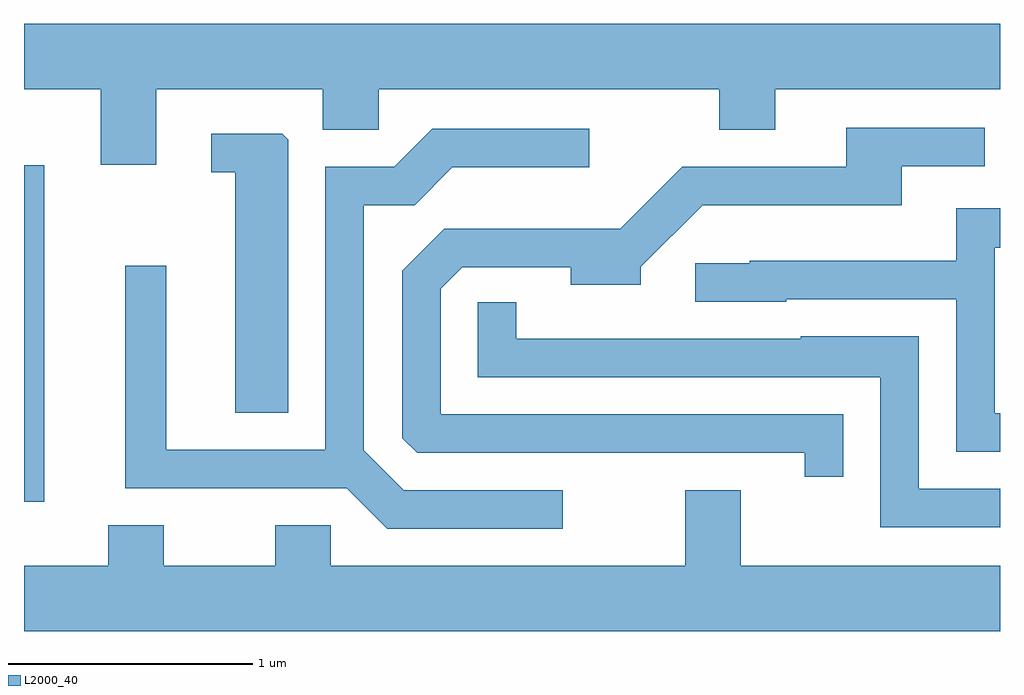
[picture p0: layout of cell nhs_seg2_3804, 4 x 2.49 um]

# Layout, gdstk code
import gdstk
lib = gdstk.Library(unit=1e-6, precision=1e-09)
def R(c, l, rs):  # rectangles x0, y0, x1, y1
    for r in rs: c.add(gdstk.rectangle(r[:2], r[2:], *l))
def P(c, l, *ps):  # polygons
    for p in ps: c.add(gdstk.Polygon(p, *l))
L2000_40 = (2000, 40)

nhs_seg2_3804 = lib.new_cell('nhs_seg2_3804')
R(nhs_seg2_3804, L2000_40, [(297.611,991.126,297.694,992.504)])
P(nhs_seg2_3804, L2000_40, [(298.154,992.816),(298.836,992.816),(298.836,992.651),(299.064,992.651),(299.064,992.816),(300.461,992.816),(300.461,992.651),(300.689,992.651),(300.689,992.816),(301.611,992.816),(301.611,993.084),(297.611,993.084),(297.611,992.816),(297.926,992.816),(297.926,992.506),(298.154,992.506)],
  [(300.969,991.484),(299.319,991.484),(299.319,991.999),(299.407,992.086),(299.851,992.086),(299.851,992.016),(300.139,992.016),(300.139,992.089),(300.392,992.341),(301.209,992.341),(301.209,992.501),(301.548,992.501),(301.548,992.659),(300.981,992.659),(300.981,992.499),(300.309,992.499),(300.054,992.244),(299.334,992.244),(299.161,992.072),(299.161,991.387),(299.222,991.326),(300.811,991.326),(300.811,991.228),(300.969,991.228)],
  [(299.818,991.174),(299.167,991.174),(299.004,991.337),(299.004,992.341),(299.212,992.341),(299.367,992.496),(299.928,992.496),(299.928,992.654),(299.284,992.654),(299.129,992.499),(298.846,992.499),(298.846,991.339),(298.194,991.339),(298.194,992.093),(298.026,992.093),(298.026,991.181),(298.934,991.181),(299.099,991.016),(299.818,991.016)],
  [(298.694,992.609),(298.669,992.634),(298.378,992.634),(298.378,992.476),(298.476,992.476),(298.476,991.491),(298.694,991.491)],
  [(301.611,991.489),(301.589,991.489),(301.589,992.166),(301.611,992.166),(301.611,992.329),(301.431,992.329),(301.431,992.114),(300.585,992.114),(300.585,992.104),(300.363,992.104),(300.363,991.946),(300.735,991.946),(300.735,991.956),(301.431,991.956),(301.431,991.331),(301.611,991.331)],
  [(301.611,991.179),(301.279,991.179),(301.279,991.804),(300.795,991.804),(300.795,991.794),(299.629,991.794),(299.629,991.943),(299.471,991.943),(299.471,991.636),(301.121,991.636),(301.121,991.021),(301.611,991.021)],
  [(301.611,990.864),(300.549,990.864),(300.549,991.174),(300.321,991.174),(300.321,990.864),(298.869,990.864),(298.869,991.029),(298.641,991.029),(298.641,990.864),(298.184,990.864),(298.184,991.029),(297.956,991.029),(297.956,990.864),(297.611,990.864),(297.611,990.596),(301.611,990.596)])

lib.write_gds('nhs_seg2_3804.gds')
